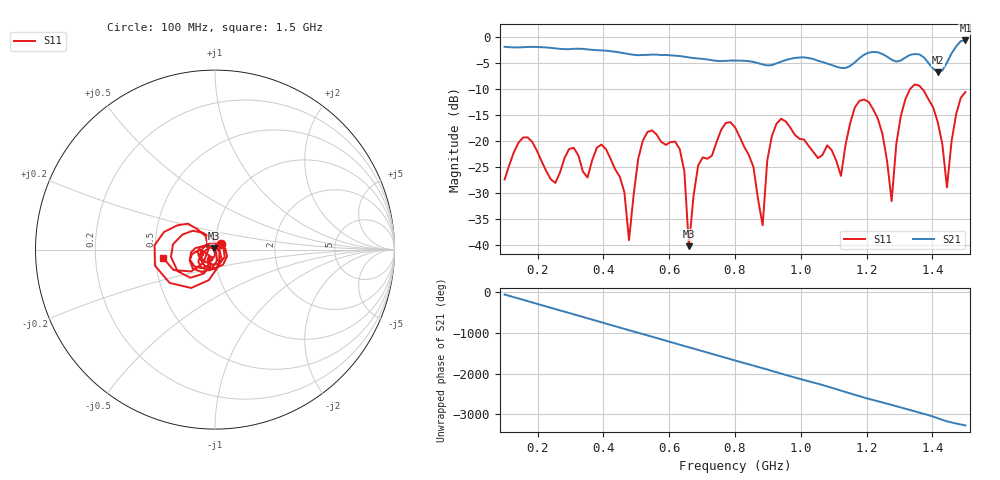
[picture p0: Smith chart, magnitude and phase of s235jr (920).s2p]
! NanoVNA-App
! Date: 2025-09-25 15:11:20
! Start: 100MHz Stop: 1,5GHz Points: 101
! S-Parameter data: F S11 S21 S12 S22
# Hz S RI R 50
!  Frequency  S11_Real  S11_Imag  S21_Real  S21_Imag  S12_Real  S12_Imag  S22_Real  S22_Imag
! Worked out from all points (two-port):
!   101 points, 100 MHz to 1.5 GHz, reference 50 ohm
!   highest |S21| = -0.74 dB at 1.5 GHz (marker M1); lowest = -6.9 dB at 1.416 GHz (marker M2)
!   |S21| within 3 dB of the highest: start of sweep to 632 MHz; 1.187 GHz to 1.259 GHz (72.03 MHz wide, 5.89 % of centre) (the widest 2 of 4)
!   lowest |S11| = -40.3 dB at 660 MHz (marker M3), VSWR 1.02, Z = 49.3 + j0.624 ohm
!   |S11| at or under -10 dB: start of sweep to 1.333 GHz; 1.368 GHz to end of sweep
!   S12 and S22 are empty: the file has one direction only
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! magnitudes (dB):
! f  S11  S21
! 100 MHz  -27.5  -2.0
! 156 MHz  -19.4  -2.0
! 338 MHz  -26.0  -2.4
! 408 MHz  -21.6  -2.7
! 478 MHz  -39.1  -3.4
! 520 MHz  -20.0  -3.5
! 576 MHz  -20.3  -3.5
! 632 MHz  -21.6  -3.7
! 660 MHz  -40.3  -4.0
! 688 MHz  -24.8  -4.2
! 800 MHz  -17.4  -4.6
! 884 MHz  -36.3  -5.3
! 926 MHz  -16.8  -5.2
! 1.038 GHz  -22.2  -4.3
! 1.122 GHz  -26.8  -6.0
! 1.164 GHz  -13.6  -5.0
! 1.206 GHz  -12.5  -3.1
! 1.276 GHz  -31.6  -4.4
! 1.332 GHz  -10.1  -3.5
! 1.416 GHz  -16.4  -6.9
! 1.444 GHz  -29.0  -5.0
! 1.5 GHz  -10.7  -0.7
